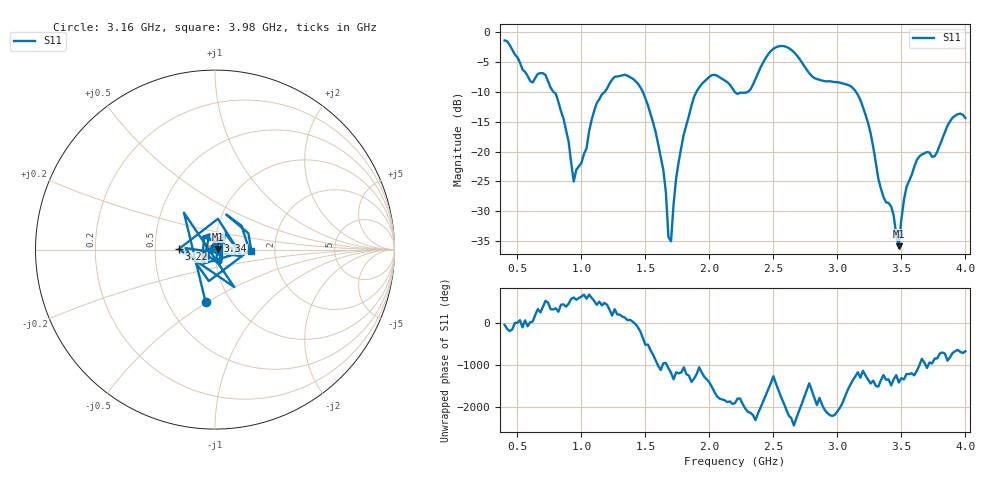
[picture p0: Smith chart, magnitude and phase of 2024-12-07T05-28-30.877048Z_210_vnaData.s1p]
!Created with skrf (http://scikit-rf.org).
# Hz S RI R 50.0
!freq ReS11 ImS11
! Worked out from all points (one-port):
!   181 points, 400 MHz to 4 GHz, reference 50 ohm
!   lowest |S11| = -35.8 dB at 3.48 GHz (marker M1), VSWR 1.03, Z = 51.6 + j0.404 ohm
!   |S11| at or under -10 dB: 779.9 MHz to 1.183 GHz (403.4 MHz wide, 41.1 % of centre); 1.48 GHz to 1.899 GHz (419.8 MHz wide, 24.8 % of centre); 3.144 GHz to end of sweep (the widest 3 of 4)
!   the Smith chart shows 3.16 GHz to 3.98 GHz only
!   S11 on the Smith chart (normalised r, x): 3.16 GHz: 0.76, -0.49; 3.22 GHz: 0.66, +0.00; 3.34 GHz: 1.03, +0.10; 3.98 GHz: 1.51, -0.02
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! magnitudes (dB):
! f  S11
! 400 MHz  -1.4
! 600 MHz  -8.2
! 720 MHz  -7.2
! 860 MHz  -14.5
! 940 MHz  -25.0
! 1.12 GHz  -11.9
! 1.3 GHz  -7.4
! 1.52 GHz  -12.3
! 1.64 GHz  -23.1
! 1.68 GHz  -34.3
! 1.7 GHz  -35.0
! 1.76 GHz  -21.7
! 1.94 GHz  -8.7
! 2.2 GHz  -10.1
! 2.32 GHz  -9.7
! 2.5 GHz  -2.8
! 2.66 GHz  -3.4
! 2.82 GHz  -7.7
! 3.1 GHz  -9.0
! 3.16 GHz  -10.5
! 3.22 GHz  -13.9
! 3.34 GHz  -26.2
! 3.42 GHz  -29.2
! 3.48 GHz  -35.8
! 3.52 GHz  -28.0
! 3.56 GHz  -24.9
! 3.98 GHz  -13.9
! 4 GHz  -14.4
